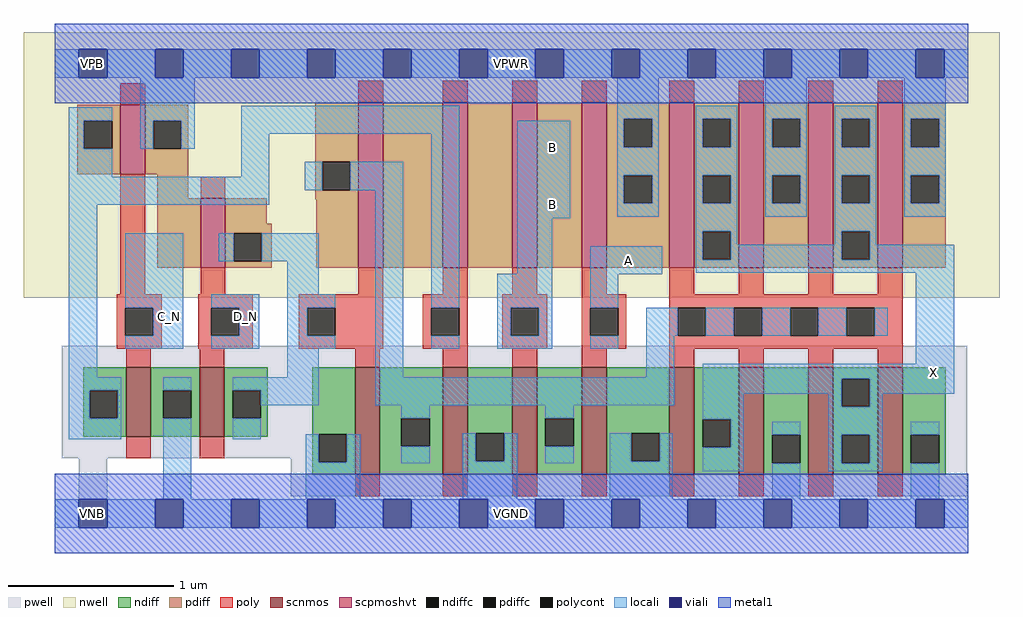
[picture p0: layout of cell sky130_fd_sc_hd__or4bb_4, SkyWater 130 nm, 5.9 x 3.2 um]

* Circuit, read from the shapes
.subckt sky130_fd_sc_hd__or4bb_4 A B C_N D_N VGND VNB VPB VPWR X
XM1 VGND C_N n1 VNB sky130_fd_pr__nfet_01v8 w=0.42 l=0.15
XM2 n2 D_N VGND VNB sky130_fd_pr__nfet_01v8 w=0.42 l=0.15
XM3 n3 n2 VGND VNB sky130_fd_pr__nfet_01v8 w=0.65 l=0.15
XM4 VGND n1 n3 VNB sky130_fd_pr__nfet_01v8 w=0.65 l=0.15
XM5 n3 B VGND VNB sky130_fd_pr__nfet_01v8 w=0.65 l=0.15
XM6 VGND A n3 VNB sky130_fd_pr__nfet_01v8 w=0.65 l=0.15
XM7 X n3 VGND VNB sky130_fd_pr__nfet_01v8 w=0.65 l=0.15 m=4
XM8 VPWR C_N n1 VPB sky130_fd_pr__pfet_01v8_hvt w=0.42 l=0.15
XM9 n2 D_N VPWR VPB sky130_fd_pr__pfet_01v8_hvt w=0.42 l=0.15
XM10 n4 n2 n3 VPB sky130_fd_pr__pfet_01v8_hvt w=1 l=0.15
XM11 n5 n1 n4 VPB sky130_fd_pr__pfet_01v8_hvt w=1 l=0.15
XM12 n6 B n5 VPB sky130_fd_pr__pfet_01v8_hvt w=1 l=0.15
XM13 VPWR A n6 VPB sky130_fd_pr__pfet_01v8_hvt w=1 l=0.15
XM14 X n3 VPWR VPB sky130_fd_pr__pfet_01v8_hvt w=1 l=0.15 m=4
.ends

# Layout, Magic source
magic
tech sky130B
magscale 1 2
<< nwell >>
rect -38 261 1142 582
<< pwell >>
rect 8 67 1103 203
rect 29 -17 63 67
rect 285 21 1103 67
<< scnmos >>
rect 86 93 116 177
rect 175 93 205 177
rect 363 47 393 177
rect 469 47 499 177
rect 553 47 583 177
rect 637 47 667 177
rect 743 47 773 177
rect 827 47 857 177
rect 911 47 941 177
rect 995 47 1025 177
<< scpmoshvt >>
rect 79 410 109 494
rect 176 297 206 381
rect 367 297 397 497
rect 469 297 499 497
rect 553 297 583 497
rect 637 297 667 497
rect 743 297 773 497
rect 827 297 857 497
rect 911 297 941 497
rect 995 297 1025 497
<< ndiff >>
rect 34 149 86 177
rect 34 115 42 149
rect 76 115 86 149
rect 34 93 86 115
rect 116 149 175 177
rect 116 115 131 149
rect 165 115 175 149
rect 116 93 175 115
rect 205 149 257 177
rect 205 115 215 149
rect 249 115 257 149
rect 205 93 257 115
rect 311 96 363 177
rect 311 62 319 96
rect 353 62 363 96
rect 311 47 363 62
rect 393 115 469 177
rect 393 81 419 115
rect 453 81 469 115
rect 393 47 469 81
rect 499 97 553 177
rect 499 63 509 97
rect 543 63 553 97
rect 499 47 553 63
rect 583 115 637 177
rect 583 81 593 115
rect 627 81 637 115
rect 583 47 637 81
rect 667 97 743 177
rect 667 63 697 97
rect 731 63 743 97
rect 667 47 743 63
rect 773 114 827 177
rect 773 80 783 114
rect 817 80 827 114
rect 773 47 827 80
rect 857 95 911 177
rect 857 61 867 95
rect 901 61 911 95
rect 857 47 911 61
rect 941 163 995 177
rect 941 129 951 163
rect 985 129 995 163
rect 941 95 995 129
rect 941 61 951 95
rect 985 61 995 95
rect 941 47 995 61
rect 1025 95 1077 177
rect 1025 61 1035 95
rect 1069 61 1077 95
rect 1025 47 1077 61
<< pdiff >>
rect 27 475 79 494
rect 27 441 35 475
rect 69 441 79 475
rect 27 410 79 441
rect 109 475 161 494
rect 109 441 119 475
rect 153 441 161 475
rect 109 410 161 441
rect 124 381 161 410
rect 315 425 367 497
rect 315 391 323 425
rect 357 391 367 425
rect 124 297 176 381
rect 206 350 256 381
rect 315 380 367 391
rect 206 339 262 350
rect 206 305 216 339
rect 250 305 262 339
rect 206 297 262 305
rect 316 297 367 380
rect 397 297 469 497
rect 499 297 553 497
rect 583 297 637 497
rect 667 477 743 497
rect 667 443 688 477
rect 722 443 743 477
rect 667 409 743 443
rect 667 375 688 409
rect 722 375 743 409
rect 667 297 743 375
rect 773 477 827 497
rect 773 443 783 477
rect 817 443 827 477
rect 773 409 827 443
rect 773 375 783 409
rect 817 375 827 409
rect 773 341 827 375
rect 773 307 783 341
rect 817 307 827 341
rect 773 297 827 307
rect 857 477 911 497
rect 857 443 867 477
rect 901 443 911 477
rect 857 409 911 443
rect 857 375 867 409
rect 901 375 911 409
rect 857 297 911 375
rect 941 477 995 497
rect 941 443 951 477
rect 985 443 995 477
rect 941 409 995 443
rect 941 375 951 409
rect 985 375 995 409
rect 941 341 995 375
rect 941 307 951 341
rect 985 307 995 341
rect 941 297 995 307
rect 1025 477 1077 497
rect 1025 443 1035 477
rect 1069 443 1077 477
rect 1025 409 1077 443
rect 1025 375 1035 409
rect 1069 375 1077 409
rect 1025 297 1077 375
<< ndiffc >>
rect 42 115 76 149
rect 131 115 165 149
rect 215 115 249 149
rect 319 62 353 96
rect 419 81 453 115
rect 509 63 543 97
rect 593 81 627 115
rect 697 63 731 97
rect 783 80 817 114
rect 867 61 901 95
rect 951 129 985 163
rect 951 61 985 95
rect 1035 61 1069 95
<< pdiffc >>
rect 35 441 69 475
rect 119 441 153 475
rect 323 391 357 425
rect 216 305 250 339
rect 688 443 722 477
rect 688 375 722 409
rect 783 443 817 477
rect 783 375 817 409
rect 783 307 817 341
rect 867 443 901 477
rect 867 375 901 409
rect 951 443 985 477
rect 951 375 985 409
rect 951 307 985 341
rect 1035 443 1069 477
rect 1035 375 1069 409
<< poly >>
rect 79 494 109 520
rect 367 497 397 523
rect 469 497 499 523
rect 553 497 583 523
rect 637 497 667 523
rect 743 497 773 523
rect 827 497 857 523
rect 911 497 941 523
rect 995 497 1025 523
rect 79 265 109 410
rect 176 381 206 407
rect 176 265 206 297
rect 367 265 397 297
rect 469 265 499 297
rect 553 265 583 297
rect 637 265 667 297
rect 743 265 773 297
rect 827 265 857 297
rect 911 265 941 297
rect 995 265 1025 297
rect 75 249 129 265
rect 75 215 85 249
rect 119 215 129 249
rect 75 199 129 215
rect 173 249 239 265
rect 173 215 189 249
rect 223 215 239 249
rect 173 199 239 215
rect 295 249 397 265
rect 295 215 305 249
rect 339 215 397 249
rect 295 199 397 215
rect 445 249 499 265
rect 445 215 455 249
rect 489 215 499 249
rect 445 199 499 215
rect 541 249 595 265
rect 541 215 551 249
rect 585 215 595 249
rect 541 199 595 215
rect 637 249 691 265
rect 637 215 647 249
rect 681 215 691 249
rect 637 199 691 215
rect 743 249 1025 265
rect 743 215 753 249
rect 787 215 821 249
rect 855 215 889 249
rect 923 215 957 249
rect 991 215 1025 249
rect 743 199 1025 215
rect 86 177 116 199
rect 175 177 205 199
rect 363 177 393 199
rect 469 177 499 199
rect 553 177 583 199
rect 637 177 667 199
rect 743 177 773 199
rect 827 177 857 199
rect 911 177 941 199
rect 995 177 1025 199
rect 86 67 116 93
rect 175 67 205 93
rect 363 21 393 47
rect 469 21 499 47
rect 553 21 583 47
rect 637 21 667 47
rect 743 21 773 47
rect 827 21 857 47
rect 911 21 941 47
rect 995 21 1025 47
<< polycont >>
rect 85 215 119 249
rect 189 215 223 249
rect 305 215 339 249
rect 455 215 489 249
rect 551 215 585 249
rect 647 215 681 249
rect 753 215 787 249
rect 821 215 855 249
rect 889 215 923 249
rect 957 215 991 249
<< locali >>
rect 0 527 29 561
rect 63 527 121 561
rect 155 527 213 561
rect 247 527 305 561
rect 339 527 397 561
rect 431 527 489 561
rect 523 527 581 561
rect 615 527 673 561
rect 707 527 765 561
rect 799 527 857 561
rect 891 527 949 561
rect 983 527 1041 561
rect 1075 527 1104 561
rect 17 475 69 491
rect 17 441 35 475
rect 103 475 169 527
rect 103 441 119 475
rect 153 441 169 475
rect 225 459 489 493
rect 680 477 730 527
rect 17 407 69 441
rect 225 407 259 459
rect 17 373 259 407
rect 302 391 323 425
rect 357 391 421 425
rect 17 165 51 373
rect 85 249 155 339
rect 198 305 216 339
rect 250 305 319 339
rect 281 265 319 305
rect 119 215 155 249
rect 85 199 155 215
rect 189 249 247 265
rect 223 215 247 249
rect 189 199 247 215
rect 281 249 339 265
rect 281 215 305 249
rect 281 199 339 215
rect 281 165 319 199
rect 17 149 80 165
rect 17 115 42 149
rect 76 115 80 149
rect 17 90 80 115
rect 131 149 165 165
rect 131 17 165 115
rect 215 149 319 165
rect 249 131 319 149
rect 387 165 421 391
rect 455 249 489 459
rect 559 357 623 475
rect 680 443 688 477
rect 722 443 730 477
rect 680 409 730 443
rect 680 375 688 409
rect 722 375 730 409
rect 680 359 730 375
rect 775 477 825 493
rect 775 443 783 477
rect 817 443 825 477
rect 775 409 825 443
rect 775 375 783 409
rect 817 375 825 409
rect 559 290 601 357
rect 775 341 825 375
rect 859 477 909 527
rect 859 443 867 477
rect 901 443 909 477
rect 859 409 909 443
rect 859 375 867 409
rect 901 375 909 409
rect 859 359 909 375
rect 943 477 993 493
rect 943 443 951 477
rect 985 443 993 477
rect 943 409 993 443
rect 943 375 951 409
rect 985 375 993 409
rect 455 199 489 215
rect 535 249 601 290
rect 535 215 551 249
rect 585 215 601 249
rect 535 199 601 215
rect 647 289 734 323
rect 775 307 783 341
rect 817 325 825 341
rect 943 341 993 375
rect 1027 477 1077 527
rect 1027 443 1035 477
rect 1069 443 1077 477
rect 1027 409 1077 443
rect 1027 375 1035 409
rect 1069 375 1077 409
rect 1027 359 1077 375
rect 943 325 951 341
rect 817 307 951 325
rect 985 325 993 341
rect 985 307 1087 325
rect 775 291 1087 307
rect 647 249 681 289
rect 647 199 681 215
rect 715 215 753 249
rect 787 215 821 249
rect 855 215 889 249
rect 923 215 957 249
rect 991 215 1007 249
rect 715 165 749 215
rect 1041 181 1087 291
rect 387 131 749 165
rect 783 163 1087 181
rect 783 145 951 163
rect 215 90 249 115
rect 419 115 453 131
rect 303 62 319 96
rect 353 62 369 96
rect 303 17 369 62
rect 593 115 627 131
rect 419 61 453 81
rect 493 63 509 97
rect 543 63 559 97
rect 493 17 559 63
rect 783 114 833 145
rect 593 61 627 81
rect 671 63 697 97
rect 731 63 747 97
rect 671 17 747 63
rect 817 80 833 114
rect 935 129 951 145
rect 985 145 1087 163
rect 985 129 1001 145
rect 783 51 833 80
rect 867 95 901 111
rect 867 17 901 61
rect 935 95 1001 129
rect 935 61 951 95
rect 985 61 1001 95
rect 935 51 1001 61
rect 1035 95 1069 111
rect 1035 17 1069 61
rect 0 -17 29 17
rect 63 -17 121 17
rect 155 -17 213 17
rect 247 -17 305 17
rect 339 -17 397 17
rect 431 -17 489 17
rect 523 -17 581 17
rect 615 -17 673 17
rect 707 -17 765 17
rect 799 -17 857 17
rect 891 -17 949 17
rect 983 -17 1041 17
rect 1075 -17 1104 17
<< viali >>
rect 29 527 63 561
rect 121 527 155 561
rect 213 527 247 561
rect 305 527 339 561
rect 397 527 431 561
rect 489 527 523 561
rect 581 527 615 561
rect 673 527 707 561
rect 765 527 799 561
rect 857 527 891 561
rect 949 527 983 561
rect 1041 527 1075 561
rect 29 -17 63 17
rect 121 -17 155 17
rect 213 -17 247 17
rect 305 -17 339 17
rect 397 -17 431 17
rect 489 -17 523 17
rect 581 -17 615 17
rect 673 -17 707 17
rect 765 -17 799 17
rect 857 -17 891 17
rect 949 -17 983 17
rect 1041 -17 1075 17
<< metal1 >>
rect 0 561 1104 592
rect 0 527 29 561
rect 63 527 121 561
rect 155 527 213 561
rect 247 527 305 561
rect 339 527 397 561
rect 431 527 489 561
rect 523 527 581 561
rect 615 527 673 561
rect 707 527 765 561
rect 799 527 857 561
rect 891 527 949 561
rect 983 527 1041 561
rect 1075 527 1104 561
rect 0 496 1104 527
rect 0 17 1104 48
rect 0 -17 29 17
rect 63 -17 121 17
rect 155 -17 213 17
rect 247 -17 305 17
rect 339 -17 397 17
rect 431 -17 489 17
rect 523 -17 581 17
rect 615 -17 673 17
rect 707 -17 765 17
rect 799 -17 857 17
rect 891 -17 949 17
rect 983 -17 1041 17
rect 1075 -17 1104 17
rect 0 -48 1104 -17
<< labels >>
flabel locali s 213 221 247 255 0 FreeSans 400 0 0 0 D_N
port 4 nsew signal input
flabel locali s 585 425 619 459 0 FreeSans 400 0 0 0 B
port 2 nsew signal input
flabel locali s 585 357 619 391 0 FreeSans 400 0 0 0 B
port 2 nsew signal input
flabel locali s 677 289 711 323 0 FreeSans 400 0 0 0 A
port 1 nsew signal input
flabel locali s 121 221 155 255 0 FreeSans 400 0 0 0 C_N
port 3 nsew signal input
flabel locali s 1045 153 1079 187 0 FreeSans 400 0 0 0 X
port 9 nsew signal output
flabel pwell s 29 -17 63 17 0 FreeSans 200 0 0 0 VNB
port 6 nsew ground bidirectional
flabel nwell s 29 527 63 561 0 FreeSans 200 0 0 0 VPB
port 7 nsew power bidirectional
flabel metal1 s 29 -17 63 17 0 FreeSans 200 0 0 0 VGND
port 5 nsew ground bidirectional abutment
flabel metal1 s 29 527 63 561 0 FreeSans 200 0 0 0 VPWR
port 8 nsew power bidirectional abutment
rlabel comment s 0 0 0 0 4 or4bb_4
rlabel metal1 s 0 -48 1104 48 1 VGND
port 5 nsew ground bidirectional abutment
rlabel metal1 s 0 496 1104 592 1 VPWR
port 8 nsew power bidirectional abutment
<< properties >>
string FIXED_BBOX 0 0 1104 544
string GDS_END 8888
string GDS_FILE $PDKPATH/libs.ref/sky130_fd_sc_hd/gds/sky130_fd_sc_hd.gds
string GDS_START 130
string LEFclass CORE
string LEFsite unithd
string LEFsymmetry X Y R90
string path 0.000 0.000 5.520 0.000 
<< end >>
